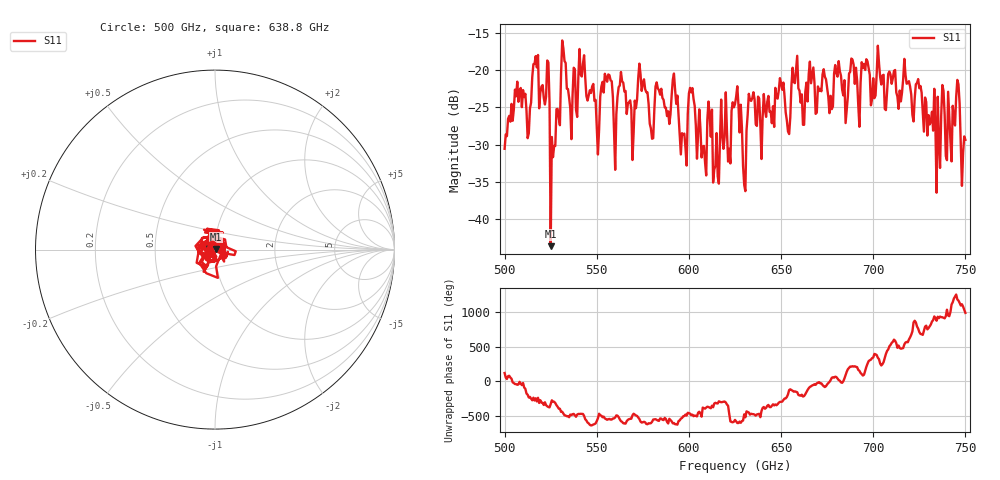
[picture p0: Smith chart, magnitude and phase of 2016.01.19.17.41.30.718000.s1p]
!Created with skrf (http://scikit-rf.org).
# GHz S RI R 50.0
!freq ReS11 ImS11
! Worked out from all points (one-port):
!   401 points, 500 GHz to 750 GHz, reference 50 ohm
!   lowest |S11| = -43.7 dB at 525 GHz (marker M1), VSWR 1.01, Z = 50.6 + j0.304 ohm
!   |S11| at or under -10 dB: start of sweep to end of sweep
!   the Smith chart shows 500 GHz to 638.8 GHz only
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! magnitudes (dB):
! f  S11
! 500 GHz  -30.6
! 506.9 GHz  -21.6
! 513.1 GHz  -28.5
! 516.9 GHz  -18.1
! 523.1 GHz  -18.7
! 525 GHz  -43.7
! 526.2 GHz  -31.7
! 531.2 GHz  -16.0
! 535.6 GHz  -25.1
! 541.9 GHz  -20.9
! 550 GHz  -27.6
! 562.5 GHz  -22.1
! 593.8 GHz  -23.4
! 597.5 GHz  -28.5
! 601.2 GHz  -23.0
! 608.1 GHz  -30.2
! 611.2 GHz  -26.2
! 615 GHz  -28.5
! 625 GHz  -24.6
! 630 GHz  -35.4
! 633.8 GHz  -24.1
! 653.8 GHz  -28.2
! 656.2 GHz  -19.7
! 687.5 GHz  -20.2
! 718.8 GHz  -21.7
! 735 GHz  -23.6
! 745.6 GHz  -21.3
! 750 GHz  -29.4
